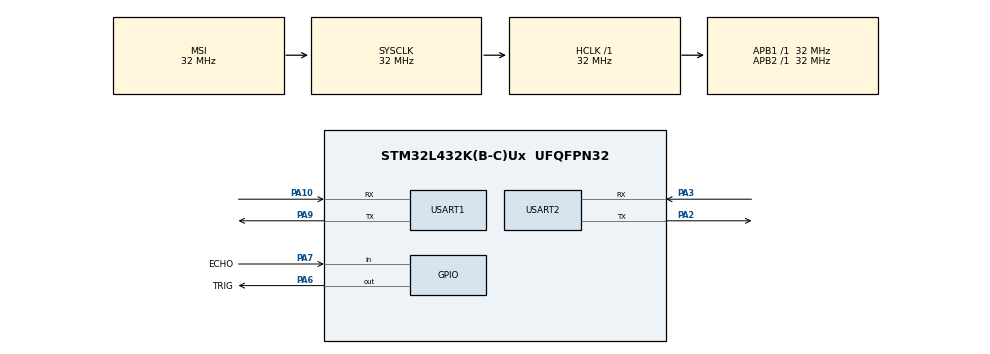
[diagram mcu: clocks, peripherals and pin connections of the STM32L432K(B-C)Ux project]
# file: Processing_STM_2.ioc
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Mcu.Family=STM32L4
Mcu.Name=STM32L432K(B-C)Ux
Mcu.Package=UFQFPN32
NVIC.PriorityGroup=NVIC_PRIORITYGROUP_4
NVIC.USART2_IRQn=true\:0\:0\:false\:false\:true\:true\:true\:true
PA10.Mode=Asynchronous
PA10.Signal=USART1_RX
PA2.Mode=Asynchronous
PA2.Signal=USART2_TX
PA3.Mode=Asynchronous
PA3.Signal=USART2_RX
PA6.GPIO_Label=TRIG
PA6.Signal=GPIO_Output
PA7.GPIO_Label=ECHO
PA7.Signal=GPIO_Input
PA9.Mode=Asynchronous
PA9.Signal=USART1_TX
ProjectManager.HeapSize=0x200
ProjectManager.StackSize=0x400
ProjectManager.TargetToolchain=CMake
RCC.ADCFreq_Value=128000000
RCC.AHBFreq_Value=32000000
RCC.APB1Freq_Value=32000000
RCC.APB1TimFreq_Value=32000000
RCC.APB2Freq_Value=32000000
RCC.APB2TimFreq_Value=32000000
RCC.CortexFreq_Value=32000000
RCC.HCLKFreq_Value=32000000
RCC.HSE_VALUE=8000000
RCC.HSI48_VALUE=48000000
RCC.HSI_VALUE=16000000
RCC.LSE_VALUE=32768
RCC.MSIClockRange=RCC_MSIRANGE_10
RCC.MSI_VALUE=32000000
RCC.SYSCLKFreq_VALUE=32000000
RCC.USBFreq_Value=128000000
RCC.VCOOutputFreq_Value=256000000
TIM16.Prescaler=31
USART1.VirtualMode-Asynchronous=VM_ASYNC
USART2.VirtualMode-Asynchronous=VM_ASYNC
VP_TIM16_VS_ClockSourceINT.Mode=Enable_Timer
board=custom

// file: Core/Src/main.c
/* USER CODE BEGIN Header */
/**
  ******************************************************************************
  * @file           : main.c
  * @brief          : Main program body
  ******************************************************************************
  * @attention
  *
  * Copyright (c) 2026 STMicroelectronics.
  * All rights reserved.
  *
  * This software is licensed under terms that can be found in the LICENSE file
  * in the root directory of this software component.
  * If no LICENSE file comes with this software, it is provided AS-IS.
  *
  ******************************************************************************
  */
/* USER CODE END Header */
#include "main.h"

/* USER CODE BEGIN Includes */
#include <stdio.h>
#include <string.h>
#include <math.h>

/* USER CODE END Includes */

TIM_HandleTypeDef htim16;

UART_HandleTypeDef huart1;
UART_HandleTypeDef huart2;

/* USER CODE BEGIN PV */
static uint8_t mode = 0;                // 0 = Waiting, M = Manual, D = Distance
static uint8_t is_recording = 0;        // Only required for distance

static uint8_t buf[3] = {128, 128, 0};  // Moving Average Filter (Taken from Task 1)
static uint8_t mean = 128;
/* USER CODE END PV */

void SystemClock_Config(void);
static void MX_GPIO_Init(void);
static void MX_USART1_UART_Init(void);
static void MX_USART2_UART_Init(void);
static void MX_TIM16_Init(void);

int main(void)
{

  /* MCU Configuration--------------------------------------------------------*/

  /* Reset of all peripherals, Initializes the Flash interface and the Systick. */
  HAL_Init();

  /* Configure the system clock */
  SystemClock_Config();

  /* Initialize all configured peripherals */
  MX_GPIO_Init();
  MX_USART1_UART_Init();
  MX_USART2_UART_Init();
  MX_TIM16_Init();
  /* USER CODE BEGIN 2 */
 HAL_TIM_Base_Start(&htim16);
  /* USER CODE END 2 */

  /* Infinite loop */
  /* USER CODE BEGIN WHILE */

  while (1)
  {

    // Wait for python to send recording mode
    if (mode == 0){
        uint8_t cmd = 0;

        // Every 100ms tries to receive mode command
        if (HAL_UART_Receive(&huart2, &cmd, 1, 100) == HAL_OK){
            // Once command has been found
            if (cmd == 'M' || cmd == 'D'){
                // Reset to defaults at start of new recording
                mode = cmd;
                is_recording = 0;

                buf[0] = 128;
                buf[1] = 128;

                // Flushes any old bits from sampling STM
                uint8_t flush;
                while (HAL_UART_Receive(&huart1, &flush, 1,  1) == HAL_OK);
            }
        }
        continue;   // Restart loop - either re-check for mode, or begin using newly set mode
    }

    // Check for Stop byte from Python
    {
        uint8_t cmd = 0;

        if (HAL_UART_Receive(&huart2, &cmd, 1, 0) == HAL_OK){
            if (cmd == 'S'){
                // Change mode to waiting
                mode = 0;
                is_recording = 0;

                // Flush sampling STM
                uint8_t flush;
                while (HAL_UART_Receive(&huart1, &flush, 1,  1) == HAL_OK);
                continue;

            }
        }
    }

    /*
        Manual Mode
        Streams until python sends stop byte
        Basically is Task 1 processing code
    */
    if (mode == 'M'){
        if (HAL_UART_Receive(&huart1, &buf[2], 1, 5) == HAL_OK){

            buf[0] = buf[1];
            buf[1] = buf[2];
            mean  = (buf[0] + buf[1]) / 2;

            HAL_UART_Transmit(&huart2, &mean, 1, HAL_MAX_DELAY);
        }
    }

    /*
        Distance Mode
        Streams whilst within 10cm
        Taken from Ultrasonic polling
    */

    else if (mode == 'D'){

    /* Trigger pulse - 10µs */
    HAL_GPIO_WritePin(TRIG_GPIO_Port, TRIG_Pin, 1);
    __HAL_TIM_SET_COUNTER(&htim16, 0); /* pass address of timer handle*/
    while (__HAL_TIM_GET_COUNTER(&htim16) < 10); /* cant use hal delay, as its in ms*/
    HAL_GPIO_WritePin(TRIG_GPIO_Port, TRIG_Pin, 0);
    /* setting high for 10us 'triggers' the pulse*/

    /* Wait for ECHO to go HIGH */
    __HAL_TIM_SET_COUNTER(&htim16, 0); /*reset the timer again*/
    while (HAL_GPIO_ReadPin(ECHO_GPIO_Port, ECHO_Pin) == 0) { /*Loops within timeout until echo goes high = precise timer reset*/
        if (__HAL_TIM_GET_COUNTER(&htim16) > 30000) break;
    }

    /* Measure echo pulse width */
    __HAL_TIM_SET_COUNTER(&htim16, 0); /*reset timer again*/
    while (HAL_GPIO_ReadPin(ECHO_GPIO_Port, ECHO_Pin) == 1) { /*Echo stays high until it receives signal, or timeout*/
        if (__HAL_TIM_GET_COUNTER(&htim16) > 38000) break; /*timeout for maximum distance of the specific sensor*/
    }
    uint32_t echo_time = __HAL_TIM_GET_COUNTER(&htim16); /*now we can get the time taken*/

    /* Distance formula: distance(cm) = echo time(µs) / 58 */
    uint32_t distance_cm = echo_time / 58;

  /* Schmitt trigger - state check */
  if (!is_recording && distance_cm <= 10)
  {
    // OBJECT DETECTED: Flip the switch to ON
    is_recording = 1;

    // Flush bits to ensure clean recording
    uint8_t flush;
    while (HAL_UART_Receive(&huart1, &flush, 1,  1) == HAL_OK);

    // Reset moving average filter
    buf[0] = 128;
    buf[1] = 128;
  }
  else if (is_recording && distance_cm > 15)
  {
      // OBJECT REMOVED: Flip the switch to OFF only after it clears 15cm
      is_recording = 0;

      // Send stop sequence to python (0xFF 0xFF = end of recording)
      uint8_t stop_seq[] = {0xFF, 0xFF};
      HAL_UART_Transmit(&huart2, stop_seq, 2, HAL_MAX_DELAY);
  }

  /* Transfer audio if within range */
  if (is_recording)
  {
      // Changed from ultrasonic to include moving average filter from Task 1
      // Pull from Sampling STM (UART1)
      if (HAL_UART_Receive(&huart1, &buf[2], 1, 5) == HAL_OK)
      {
        buf[0] = buf[1];
        buf[1] = buf[2];
        mean = (buf[0] + buf[1]) / 2;

          // Forward to Python (USART2), escape 0xFF to avoid collision with stop sequence
          if (mean == 0xFF) {
              uint8_t escaped[] = {0xFF, 0x00};
              HAL_UART_Transmit(&huart2, escaped, 2, HAL_MAX_DELAY);
          } else {
              HAL_UART_Transmit(&huart2, &mean, 1, HAL_MAX_DELAY);
          }
      }
      // No Delay here: Maintain high sample rate!
  }
  else
  {
    /* Wait 60ms between readings */
    HAL_Delay(60); //once stop byte sent, we go back to sampling every 60ms
  }
    /* USER CODE END WHILE */

  }
}

void SystemClock_Config(void)
{
  RCC_OscInitTypeDef RCC_OscInitStruct = {0};
  RCC_ClkInitTypeDef RCC_ClkInitStruct = {0};

  /** Configure the main internal regulator output voltage
  */
  if (HAL_PWREx_ControlVoltageScaling(PWR_REGULATOR_VOLTAGE_SCALE1) != HAL_OK)
  {
    Error_Handler();
  }

  /** Initializes the RCC Oscillators according to the specified parameters
  * in the RCC_OscInitTypeDef structure.
  */
  RCC_OscInitStruct.OscillatorType = RCC_OSCILLATORTYPE_MSI;
  RCC_OscInitStruct.MSIState = RCC_MSI_ON;
  RCC_OscInitStruct.MSICalibrationValue = 0;
  RCC_OscInitStruct.MSIClockRange = RCC_MSIRANGE_10;
  RCC_OscInitStruct.PLL.PLLState = RCC_PLL_NONE;
  if (HAL_RCC_OscConfig(&RCC_OscInitStruct) != HAL_OK)
  {
    Error_Handler();
  }

  /** Initializes the CPU, AHB and APB buses clocks
  */
  RCC_ClkInitStruct.ClockType = RCC_CLOCKTYPE_HCLK|RCC_CLOCKTYPE_SYSCLK
                              |RCC_CLOCKTYPE_PCLK1|RCC_CLOCKTYPE_PCLK2;
  RCC_ClkInitStruct.SYSCLKSource = RCC_SYSCLKSOURCE_MSI;
  RCC_ClkInitStruct.AHBCLKDivider = RCC_SYSCLK_DIV1;
  RCC_ClkInitStruct.APB1CLKDivider = RCC_HCLK_DIV1;
  RCC_ClkInitStruct.APB2CLKDivider = RCC_HCLK_DIV1;

  if (HAL_RCC_ClockConfig(&RCC_ClkInitStruct, FLASH_LATENCY_1) != HAL_OK)
  {
    Error_Handler();
  }
}

static void MX_TIM16_Init(void)
{

  htim16.Instance = TIM16;
  htim16.Init.Prescaler = 31;
  htim16.Init.CounterMode = TIM_COUNTERMODE_UP;
  htim16.Init.Period = 65535;
  htim16.Init.ClockDivision = TIM_CLOCKDIVISION_DIV1;
  htim16.Init.RepetitionCounter = 0;
  htim16.Init.AutoReloadPreload = TIM_AUTORELOAD_PRELOAD_DISABLE;
  if (HAL_TIM_Base_Init(&htim16) != HAL_OK)
  {
    Error_Handler();
  }

}

static void MX_USART1_UART_Init(void)
{

  huart1.Instance = USART1;
  huart1.Init.BaudRate = 115200;
  huart1.Init.WordLength = UART_WORDLENGTH_8B;
  huart1.Init.StopBits = UART_STOPBITS_1;
  huart1.Init.Parity = UART_PARITY_NONE;
  huart1.Init.Mode = UART_MODE_TX_RX;
  huart1.Init.HwFlowCtl = UART_HWCONTROL_NONE;
  huart1.Init.OverSampling = UART_OVERSAMPLING_16;
  huart1.Init.OneBitSampling = UART_ONE_BIT_SAMPLE_DISABLE;
  huart1.AdvancedInit.AdvFeatureInit = UART_ADVFEATURE_NO_INIT;
  if (HAL_UART_Init(&huart1) != HAL_OK)
  {
    Error_Handler();
  }

}

static void MX_USART2_UART_Init(void)
{

  huart2.Instance = USART2;
  huart2.Init.BaudRate = 115200;
  huart2.Init.WordLength = UART_WORDLENGTH_8B;
  huart2.Init.StopBits = UART_STOPBITS_1;
  huart2.Init.Parity = UART_PARITY_NONE;
  huart2.Init.Mode = UART_MODE_TX_RX;
  huart2.Init.HwFlowCtl = UART_HWCONTROL_NONE;
  huart2.Init.OverSampling = UART_OVERSAMPLING_16;
  huart2.Init.OneBitSampling = UART_ONE_BIT_SAMPLE_DISABLE;
  huart2.AdvancedInit.AdvFeatureInit = UART_ADVFEATURE_NO_INIT;
  if (HAL_UART_Init(&huart2) != HAL_OK)
  {
    Error_Handler();
  }

}

static void MX_GPIO_Init(void)
{
  GPIO_InitTypeDef GPIO_InitStruct = {0};

  /* GPIO Ports Clock Enable */
  __HAL_RCC_GPIOA_CLK_ENABLE();

  /*Configure GPIO pin Output Level */
  HAL_GPIO_WritePin(TRIG_GPIO_Port, TRIG_Pin, GPIO_PIN_RESET);

  /*Configure GPIO pin : TRIG_Pin */
  GPIO_InitStruct.Pin = TRIG_Pin;
  GPIO_InitStruct.Mode = GPIO_MODE_OUTPUT_PP;
  GPIO_InitStruct.Pull = GPIO_NOPULL;
  GPIO_InitStruct.Speed = GPIO_SPEED_FREQ_LOW;
  HAL_GPIO_Init(TRIG_GPIO_Port, &GPIO_InitStruct);

  /*Configure GPIO pin : ECHO_Pin */
  GPIO_InitStruct.Pin = ECHO_Pin;
  GPIO_InitStruct.Mode = GPIO_MODE_INPUT;
  GPIO_InitStruct.Pull = GPIO_NOPULL;
  HAL_GPIO_Init(ECHO_GPIO_Port, &GPIO_InitStruct);

}

void Error_Handler(void)
{
  __disable_irq();
  while (1)
  {
  }
}
